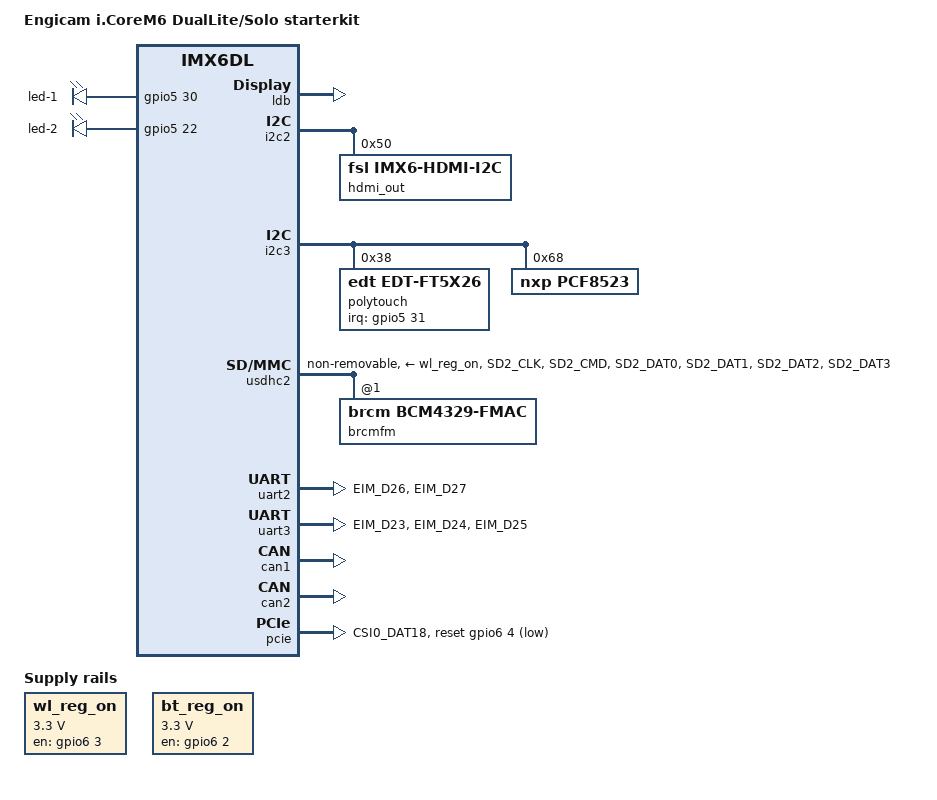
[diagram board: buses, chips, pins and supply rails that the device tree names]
/*
 * Copyright (C) 2013 Freescale Semiconductor, Inc.
 *
 * This program is free software; you can redistribute it and/or modify
 * it under the terms of the GNU General Public License version 2 as
 * published by the Free Software Foundation.
 */

/dts-v1/;

#include "imx6dl.dtsi"
#include "imx6qdl-icore.dtsi"

/ {
	model = "Engicam i.CoreM6 DualLite/Solo starterkit";
	compatible = "engi,imx6-icore", "fsl,imx6dl";

	aliases {
		mxcfb0 = &mxcfb1;
		mxcfb1 = &mxcfb2;
	};

	leds {
		compatible = "gpio-leds";
		pinctrl-names = "default";
		pinctrl-0 = <&pinctrl_leds>;

		led-1 {
			label = "led-1";
			gpios = <&gpio5 30 GPIO_ACTIVE_HIGH>;
			default-sate = "on";
		};

		led-2 {
			label = "led-2";
			gpios = <&gpio5 22 GPIO_ACTIVE_HIGH>;
			default-state = "off";
		};
	};

	wl_reg_on: regulator-wlregon {
		compatible = "regulator-fixed";
		regulator-name = "WL_REG_ON";
		regulator-min-microvolt = <3300000>;
		regulator-max-microvolt = <3300000>;
		gpio = <&gpio6 3 GPIO_ACTIVE_HIGH>;
		startup-delay-us = <100>;
		enable-active-high;
		regulator-always-on;
	};

	bt_reg_on: regulator-btregon {
		compatible = "regulator-fixed";
		regulator-name = "BT_REG_ON";
		regulator-min-microvolt = <3300000>;
		regulator-max-microvolt = <3300000>;
		gpio = <&gpio6 2 GPIO_ACTIVE_HIGH>;
		startup-delay-us = <100>;
		enable-active-high;
		regulator-always-on;
	};

	mxcfb1: fb@0 {
		compatible = "fsl,mxc_sdc_fb";
		disp_dev = "ldb";
		interface_pix_fmt = "RGB24";
		default_bpp = <32>;
		int_clk = <0>;
		late_init = <0>;
		status = "okay";
	};

	mxcfb2: fb@1 {
		status = "disabled";
	};
};

&ldb {
	status = "okay";

	lvds-channel@0 {
		fsl,data-mapping = "spwg";
		fsl,data-width = <24>;
		primary;
		crtc = "ipu1-di0";
		status = "okay";

		display-timings {
			native-mode = <&timing0>;
			timing0: timing0 {
				clock-frequency = <65000000>;
				hactive = <1024>;
				vactive = <600>;
				hback-porch = <160>;
				hfront-porch = <20>;
				vback-porch = <29>;
				vfront-porch = <3>;
				hsync-len = <136>;
				vsync-len = <6>;
			};
		};
	};
};

&gpmi {
	fsl,use-minimum-ecc;
};

&i2c2 {

	hdmi_out: edid@50 {
		compatible = "fsl,imx6-hdmi-i2c";
		reg = <0x50>;
	};
};

&sgtl5000 {
	VDDA-supply = <&reg_3p3v>;
	/delete-property/ dmas;
	/delete-property/ dma-names;
};

&i2c3 {

	polytouch: edt-ft5x06@38 {
		compatible = "edt,edt-ft5x26";
		reg = <0x38>;
		pinctrl-names = "default";
		interrupt-parent = <&gpio5>;
		interrupts = <31 0>;
	};

	pcf8523: rtc@68 {
		compatible = "nxp,pcf8523";
		reg = <0x68>;
	};
};

/* Wifi */
&usdhc2 {
	#address-cells = <1>;
	#size-cells = <0>;
	pinctrl-names = "default";
	pinctrl-0 = <&pinctrl_usdhc2>;
	no-1-8-v;
	pm-ignore-notify;
	keep-power-in-suspend;
	non-removable;
	vmmc-supply = <&wl_reg_on>;
	status = "ok";

	brcmfm: brcmfm@1 {
		reg = <1>;
		compatible = "brcm,bcm4329-fmac";
	};
};

/* RS232 */
&uart2 {
	pinctrl-names = "default";
	pinctrl-0 = <&pinctrl_uart2>;
	/delete-property/ dmas;
	/delete-property/ dma-names;
	status = "ok";
};

/* RS485 */
&uart3 {
	pinctrl-names = "default";
	pinctrl-0 = <&pinctrl_uart3>;
	fsl,uart-has-rtscts;
	/delete-property/ dmas;
	/delete-property/ dma-names;
	status = "ok";
};

&can1 {
	status = "ok";
};

&can2 {
	status = "ok";
};

&pcie {
	pinctrl-names = "default";
	pinctrl-0 = <&pinctrl_pcie>;
	reset-gpio = <&gpio6 4 GPIO_ACTIVE_LOW>;
	status = "ok";
};

&iomuxc {
	pinctrl-names = "default";
	pinctrl-0 = <&pinctrl_hog>;

	pinctrl_hdmi_cec: hdmicecgrp {
		fsl,pins = <
			MX6QDL_PAD_EIM_A25__HDMI_TX_CEC_LINE 0x108b0
		>;
	};

	pinctrl_leds: leds-grp {
		fsl,pins = <
			MX6QDL_PAD_CSI0_DAT12__GPIO5_IO30	0x1b0b0
			MX6QDL_PAD_CSI0_DAT4__GPIO5_IO22	0x1b0b0
		>;
	};

	pinctrl_usdhc2: lwb4500152-wifi-grp {
		fsl,pins = <
			MX6QDL_PAD_SD2_CLK__SD2_CLK		0x10051
			MX6QDL_PAD_SD2_CMD__SD2_CMD		0x17058
			MX6QDL_PAD_SD2_DAT0__SD2_DATA0		0x17058
			MX6QDL_PAD_SD2_DAT1__SD2_DATA1		0x17058
			MX6QDL_PAD_SD2_DAT2__SD2_DATA2		0x17058
			MX6QDL_PAD_SD2_DAT3__SD2_DATA3		0x17058
		>;
	};

	pinctrl_uart2: uart2-grp {
		fsl,pins = <
			MX6QDL_PAD_EIM_D26__UART2_TX_DATA	0x1b0b0
			MX6QDL_PAD_EIM_D27__UART2_RX_DATA	0x1b0b0
		>;
	};

	pinctrl_uart3: uart3-grp {
		fsl,pins = <
			MX6QDL_PAD_EIM_D23__UART3_CTS_B		0x1b0b0
			MX6QDL_PAD_EIM_D24__UART3_TX_DATA	0x1b0b0
			MX6QDL_PAD_EIM_D25__UART3_RX_DATA	0x1b0b0
		>;
	};

	pinctrl_pcie: pcie-grp {
		fsl,pins = <
			MX6QDL_PAD_CSI0_DAT18__GPIO6_IO04	0x1b0b0 /* signal for pcie reset*/
		>;
	};

	pinctrl_hog: hoggrp {
		fsl,pins = <
			MX6QDL_PAD_GPIO_0__CCM_CLKO1		0x130b0 /* master clock signal for sgtl5000 */
			MX6QDL_PAD_CSI0_DAT13__GPIO5_IO31	0x1b0b0 /* GPIO for edt-ft5x26 INT signal */
			MX6QDL_PAD_CSI0_DAT16__GPIO6_IO02	0x1b0b0	/* GPIO for BT_REG_ON */
			MX6QDL_PAD_CSI0_DAT17__GPIO6_IO03	0x1b0b0 /* GPIO for WL_REG_ON */
		>;
	};
};
